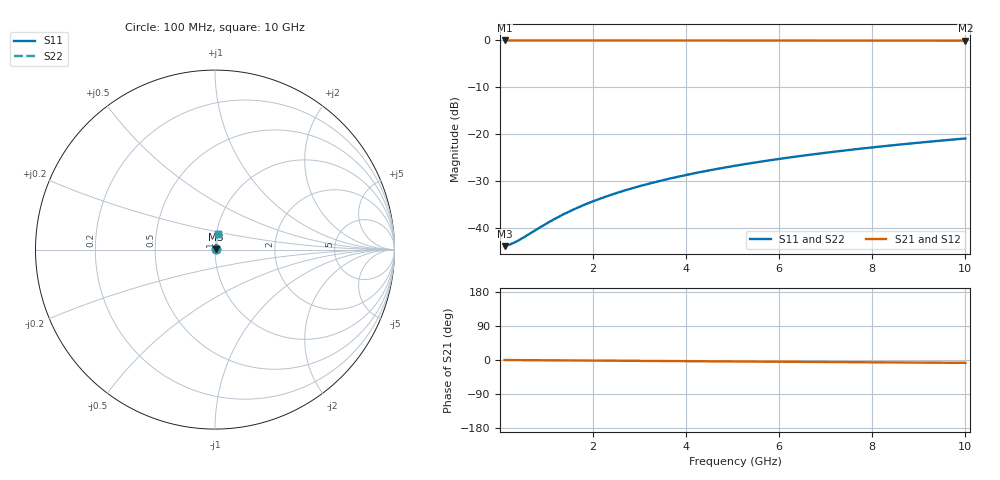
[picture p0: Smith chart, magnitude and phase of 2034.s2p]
# Hz S RI R 50.00
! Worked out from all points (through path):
!   100 points, 100 MHz to 10 GHz, reference 50 ohm
!   highest |S21| = -0.05 dB at 100 MHz (marker M1); lowest = -0.1 dB at 10 GHz (marker M2)
!   group delay of S21, straight-line fit = 2.11 ps
!   lowest |S11| = -44.0 dB at 100 MHz (marker M3), VSWR 1.01, Z = 50.6 + j0.0899 ohm
!   |S11| at or under -10 dB: start of sweep to end of sweep
!   |S22| runs from -44.0 to -21.0 dB; largest |S21 - S12| = 0
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1e8  0.00627 0.000887  0.9937 -0.00132  0.9937 -0.00132  0.00627 0.000887
2e8  0.00631 0.00177  0.9937 -0.00263  0.9937 -0.00263  0.00631 0.00177
3e8  0.00635 0.00266  0.9936 -0.00395  0.9936 -0.00395  0.00635 0.00266
4e8  0.00638 0.00355  0.9936 -0.00527  0.9936 -0.00527  0.00638 0.00355
9e8  0.00654 0.00798  0.9934 -0.0119  0.9934 -0.0119  0.00654 0.00798
1.2e9  0.00665 0.0106  0.9933 -0.0158  0.9933 -0.0158  0.00665 0.0106
1.5e9  0.00678 0.0133  0.9932 -0.0197  0.9932 -0.0197  0.00678 0.0133
1.8e9  0.00692 0.016  0.993 -0.0237  0.993 -0.0237  0.00692 0.016
2.1e9  0.00708 0.0186  0.9929 -0.0276  0.9929 -0.0276  0.00708 0.0186
2.5e9  0.00733 0.0221  0.9926 -0.0329  0.9926 -0.0329  0.00733 0.0221
2.9e9  0.00761 0.0257  0.9923 -0.0382  0.9923 -0.0382  0.00761 0.0257
3.4e9  0.00801 0.0301  0.9919 -0.0447  0.9919 -0.0447  0.00801 0.0301
3.8e9  0.00837 0.0336  0.9915 -0.05  0.9915 -0.05  0.00837 0.0336
4.2e9  0.00876 0.0371  0.9911 -0.0552  0.9911 -0.0552  0.00876 0.0371
4.6e9  0.0092 0.0407  0.9906 -0.0604  0.9906 -0.0604  0.0092 0.0407
5.1e9  0.00979 0.045  0.9899 -0.067  0.9899 -0.067  0.00979 0.045
5.9e9  0.0109 0.052  0.9888 -0.0774  0.9888 -0.0774  0.0109 0.052
6.7e9  0.0121 0.059  0.9875 -0.0878  0.9875 -0.0878  0.0121 0.059
7.5e9  0.0134 0.0659  0.986 -0.0982  0.986 -0.0982  0.0134 0.0659
8.4e9  0.0151 0.0737  0.9842 -0.1099  0.9842 -0.1099  0.0151 0.0737
9.2e9  0.0168 0.0806  0.9824 -0.1202  0.9824 -0.1202  0.0168 0.0806
1e10  0.0186 0.0874  0.9804 -0.1304  0.9804 -0.1304  0.0186 0.0874
